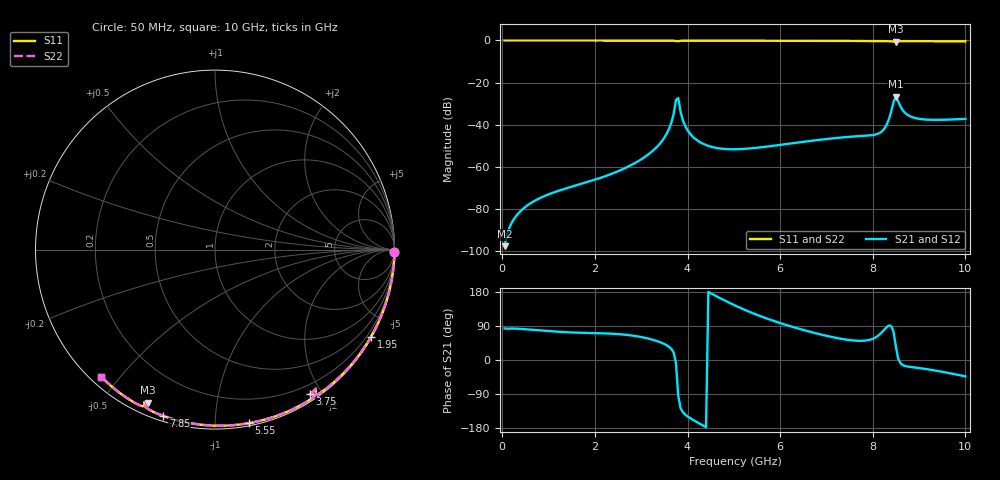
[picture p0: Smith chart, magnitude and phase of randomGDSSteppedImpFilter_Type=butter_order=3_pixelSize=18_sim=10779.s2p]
! freq	dB(S11)	phase(S11)	dB(S12)	phase(S12)
!  dB(S21)	phase(S21)	dB(S22)	phase(S22)
!S-par simulation data
#  GHz  S  DB  R 50
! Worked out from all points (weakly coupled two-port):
!   200 points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, 50 MHz to 10 GHz, reference 50 ohm
!   highest |S21| = -26.74 dB at 8.5 GHz (marker M1); lowest = -97.7 dB at 50 MHz (marker M2)
!   lowest |S11| = -0.6 dB at 8.5 GHz (marker M3), VSWR 27.79, Z = 2.57 - j32.6 ohm
!   |S11| at or under -10 dB: nowhere
!   |S22| runs from -0.6 to 0.0 dB; largest |S21 - S12| = 0
!   S11 on the Smith chart (normalised r, x): 50 MHz: open; 1.95 GHz: 0.03, -3.83; 3.75 GHz: 0.08, -1.85; 5.55 GHz: 0.02, -1.22; 7.85 GHz: 0.02, -0.74; 10 GHz: 0.03, -0.45
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0.05  -0.00 -0.8  -97.68 83.4  -97.68 83.4  -0.00 -0.8
0.45  -0.01 -6.9  -79.89 81.6  -79.89 81.6  -0.01 -6.9
1.75  -0.03 -26.3  -67.80 71.7  -67.80 71.7  -0.03 -26.3
1.95  -0.04 -29.3  -66.47 71.1  -66.47 71.1  -0.04 -29.3
2.8  -0.05 -41.6  -58.99 64.6  -58.99 64.6  -0.05 -41.6
3.4  -0.07 -50.3  -49.07 47.3  -49.07 47.3  -0.07 -50.3
3.65  -0.09 -54.2  -39.09 29.4  -39.09 29.4  -0.09 -54.2
3.75  -0.31 -56.6  -28.27 -8.0  -28.27 -8.0  -0.31 -56.6
3.8  -0.38 -54.0  -27.33 -94.8  -27.33 -94.8  -0.38 -54.0
3.85  -0.14 -55.2  -33.94 -127.2  -33.94 -127.2  -0.14 -55.2
3.95  -0.09 -57.2  -40.64 -144.1  -40.64 -144.1  -0.09 -57.2
4.15  -0.09 -60.2  -46.45 -160.3  -46.45 -160.3  -0.09 -60.2
5.05  -0.11 -72.4  -51.65 142.4  -51.65 142.4  -0.11 -72.4
5.55  -0.13 -78.9  -50.83 116.8  -50.83 116.8  -0.13 -78.9
6.7  -0.18 -93.4  -47.58 72.7  -47.58 72.7  -0.18 -93.4
7.85  -0.26 -107.3  -45.22 51.5  -45.22 51.5  -0.26 -107.3
8.15  -0.29 -111.0  -43.93 67.7  -43.93 67.7  -0.29 -111.0
8.35  -0.36 -113.7  -37.31 91.0  -37.31 91.0  -0.36 -113.7
8.5  -0.63 -113.7  -26.74 34.1  -26.74 34.1  -0.63 -113.7
8.65  -0.32 -115.6  -33.22 -13.5  -33.22 -13.5  -0.32 -115.6
8.85  -0.32 -118.3  -36.40 -18.9  -36.40 -18.9  -0.32 -118.3
10  -0.44 -131.7  -37.22 -43.2  -37.22 -43.2  -0.44 -131.7
